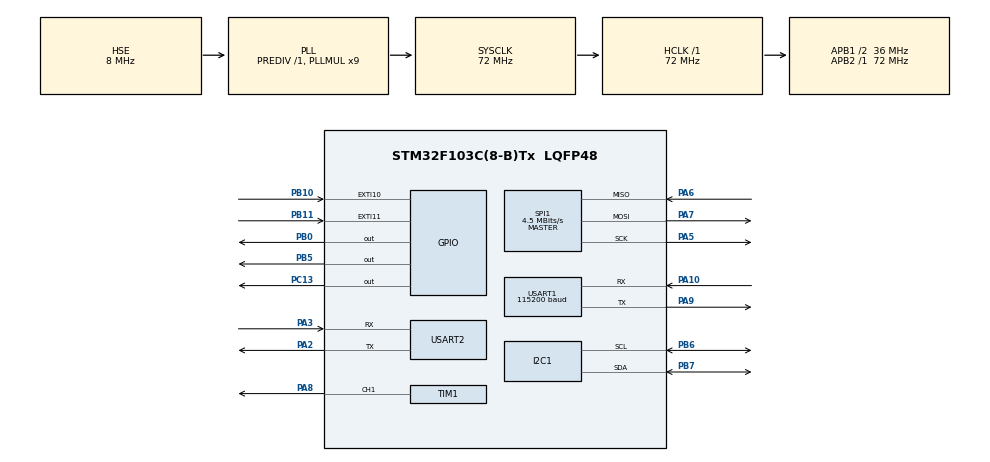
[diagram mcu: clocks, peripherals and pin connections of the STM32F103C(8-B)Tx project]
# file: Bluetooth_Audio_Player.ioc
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Dma.Request0=USART1_RX
Dma.USART1_RX.0.Direction=DMA_PERIPH_TO_MEMORY
Dma.USART1_RX.0.Instance=DMA1_Channel5
Dma.USART1_RX.0.MemDataAlignment=DMA_MDATAALIGN_BYTE
Dma.USART1_RX.0.MemInc=DMA_MINC_ENABLE
Dma.USART1_RX.0.Mode=DMA_CIRCULAR
Dma.USART1_RX.0.PeriphDataAlignment=DMA_PDATAALIGN_BYTE
Dma.USART1_RX.0.PeriphInc=DMA_PINC_DISABLE
Dma.USART1_RX.0.Priority=DMA_PRIORITY_LOW
FATFS._MAX_SS=4096
FATFS._USE_LFN=1
Mcu.Family=STM32F1
Mcu.Name=STM32F103C(8-B)Tx
Mcu.Package=LQFP48
NVIC.DMA1_Channel5_IRQn=true\:0\:0\:false\:false\:true\:false\:true\:true
NVIC.EXTI15_10_IRQn=true\:0\:0\:false\:false\:true\:true\:true\:true
NVIC.PriorityGroup=NVIC_PRIORITYGROUP_4
NVIC.TIM1_UP_IRQn=true\:0\:0\:false\:false\:true\:true\:true\:true
NVIC.USART1_IRQn=true\:0\:0\:false\:false\:true\:true\:true\:true
PA10.Mode=Asynchronous
PA10.Signal=USART1_RX
PA2.Mode=Asynchronous
PA2.Signal=USART2_TX
PA3.Mode=Asynchronous
PA3.Signal=USART2_RX
PA5.Mode=Full_Duplex_Master
PA5.Signal=SPI1_SCK
PA6.Mode=Full_Duplex_Master
PA6.Signal=SPI1_MISO
PA7.Mode=Full_Duplex_Master
PA7.Signal=SPI1_MOSI
PA8.Signal=S_TIM1_CH1
PA9.Mode=Asynchronous
PA9.Signal=USART1_TX
PB0.Signal=GPIO_Output
PB10.Signal=GPXTI10
PB11.Signal=GPXTI11
PB5.Signal=GPIO_Output
PB6.Mode=I2C
PB6.Signal=I2C1_SCL
PB7.Mode=I2C
PB7.Signal=I2C1_SDA
PC13-TAMPER-RTC.Signal=GPIO_Output
PD0-OSC_IN.Mode=HSE-External-Oscillator
PD0-OSC_IN.Signal=RCC_OSC_IN
PD1-OSC_OUT.Mode=HSE-External-Oscillator
PD1-OSC_OUT.Signal=RCC_OSC_OUT
ProjectManager.HeapSize=0x200
ProjectManager.StackSize=0x400
ProjectManager.TargetToolchain=Makefile
RCC.AHBFreq_Value=72000000
RCC.APB1CLKDivider=RCC_HCLK_DIV2
RCC.APB1Freq_Value=36000000
RCC.APB1TimFreq_Value=72000000
RCC.APB2Freq_Value=72000000
RCC.APB2TimFreq_Value=72000000
RCC.HCLKFreq_Value=72000000
RCC.PLLMUL=RCC_PLL_MUL9
RCC.PLLSourceVirtual=RCC_PLLSOURCE_HSE
RCC.SYSCLKFreq_VALUE=72000000
RCC.SYSCLKSource=RCC_SYSCLKSOURCE_PLLCLK
RCC.USBFreq_Value=72000000
SH.S_TIM1_CH1.0=TIM1_CH1,PWM Generation1 CH1
SPI1.BaudRatePrescaler=SPI_BAUDRATEPRESCALER_16
SPI1.CalculateBaudRate=4.5 MBits/s
SPI1.Direction=SPI_DIRECTION_2LINES
SPI1.Mode=SPI_MODE_MASTER
SPI1.VirtualType=VM_MASTER
TIM1.Channel-PWM\ Generation1\ CH1=TIM_CHANNEL_1
TIM1.Period=1088
TIM1.Prescaler=2
USART1.BaudRate=115200
USART1.VirtualMode=VM_ASYNC
USART2.VirtualMode=VM_ASYNC
VP_FATFS_VS_Generic.Mode=User_defined
VP_SYS_VS_ND.Mode=No_Debug
VP_TIM1_VS_ClockSourceINT.Mode=Internal
board=custom

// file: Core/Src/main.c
/* USER CODE BEGIN Header */
/**
  ******************************************************************************
  * @file           : main.c
  * @brief          : Main program body
  ******************************************************************************
  * @attention
  *
  * Copyright (c) 2024 STMicroelectronics.
  * All rights reserved.
  *
  * This software is licensed under terms that can be found in the LICENSE file
  * in the root directory of this software component.
  * If no LICENSE file comes with this software, it is provided AS-IS.
  *
  ******************************************************************************
  */
/* USER CODE END Header */
#include "main.h"
#include "dma.h"
#include "fatfs.h"
#include "i2c.h"
#include "spi.h"
#include "tim.h"
#include "usart.h"
#include "gpio.h"

/* USER CODE BEGIN Includes */

#include "i2c-lcd.h"
#include "stm32f1xx_hal.h"
#include <stdint.h>
#include <string.h>
#include <stdbool.h>
#include <stdio.h>
#include "circ_buffer.h"

/* USER CODE END Includes */

/* USER CODE BEGIN PD */

#define DATA_BUFFER_SIZE        128
#define DUTY_CICLE_MULTIPLIER   ((TIM1->ARR)/256)

// Macros para delay de microsegundos, obtidas de: https://deepbluembedded.com/stm32-systick-timer-microseconds-delay-us-delay-function/
#define SYSTICK_LOAD (SystemCoreClock/1000000U)
#define SYSTICK_DELAY_CALIB (SYSTICK_LOAD >> 1)

#define DELAY_US(us) \
    do { \
         uint32_t start = SysTick->VAL; \
         uint32_t ticks = (us * SYSTICK_LOAD)-SYSTICK_DELAY_CALIB;  \
         while((start - SysTick->VAL) < ticks); \
    } while (0)

#define AUDIO_BUFFER_SIZE 400

/* USER CODE END PD */

/* USER CODE BEGIN PV */

FATFS FatFs; // Definição do formato de arquivo FatFs

uint8_t rx_buffer[2*DATA_BUFFER_SIZE];
uint8_t data_to_transfer[DATA_BUFFER_SIZE + 1];
bool data_ready = false;

char audio_byte;
CircBuffer audioBuffer;

uint32_t currentMillis, previousMillis;
/*uint8_t Estado;*/
enum state {
  IDLE,
  ABRE_ARQUIVO_ESCRITA,
  ESPERA_RECEPCAO,
  FECHA_ARQUIVO,
  TOCA_AUDIO,
  ERRO
} Estado;

/* USER CODE END PV */

void SystemClock_Config(void);
/* USER CODE BEGIN PFP */

// funções de controle do LCD
void lcd_string_top(char *);
void lcd_string_bottom(char *);

// funções de controle do SD Card
int SD_Mount();
void SD_Read_Size();
void SD_error_feedback(FRESULT);

// função para reprodução do áudio
void tocaAudio(FIL *file_ptr);

/* USER CODE END PFP */

int main(void)
{

  /* MCU Configuration--------------------------------------------------------*/

  /* Reset of all peripherals, Initializes the Flash interface and the Systick. */
  HAL_Init();

  /* Configure the system clock */
  SystemClock_Config();

  /* Initialize all configured peripherals */
  MX_GPIO_Init();
  MX_DMA_Init();
  MX_USART1_UART_Init();
  MX_I2C1_Init();
  MX_SPI1_Init();
  MX_TIM1_Init();
  MX_FATFS_Init();
  MX_USART2_UART_Init();
  /* USER CODE BEGIN 2 */

  lcd_init();
  HAL_Delay(2000);

  HAL_GPIO_WritePin(GPIOB, GPIO_PIN_5, GPIO_PIN_RESET); // pino B5 conectado ao !Enable do amplificador LM4818
  HAL_TIM_PWM_Start(&htim1, TIM_CHANNEL_1);

  lcd_clear();
  lcd_string_top("Montando SD");
  HAL_Delay(2000);

  if(SD_Mount() == 1){
    lcd_string_top("SD Mounted!");
    HAL_Delay(2000);

    //SD_Read_Size();

    Estado = IDLE;
    lcd_clear();
    lcd_string_top("IDLE");
  }
  else{
    lcd_string_top("SD Not Found    ");
    Estado = ERRO;
  }

  FIL fil; // Variável para armazenar os arquivos
  FRESULT fres; // Variável para armazenar feedback dos comandos para o cartão SD

  InitCircBuffer(&audioBuffer, AUDIO_BUFFER_SIZE);

  /* USER CODE END 2 */

  /* Infinite loop */
  /* USER CODE BEGIN WHILE */
  while (1)
  {

    switch (Estado) {
      case IDLE:
      case ERRO:
        break;

      case ESPERA_RECEPCAO:
        if(data_ready){
          // HAL_GPIO_TogglePin(GPIOC, GPIO_PIN_13); // LED 13
          f_puts((const char*)data_to_transfer, &fil);
          memset(data_to_transfer, '\0', DATA_BUFFER_SIZE + 1);
          data_ready = false;
        }
        break;

      case ABRE_ARQUIVO_ESCRITA:
        // Criando o arquivo que será usado. Se o arquivo já existe, será sobreescrito.
        fres = f_open(&fil, "Audio_teste.txt", FA_WRITE | FA_READ | FA_CREATE_ALWAYS);
        lcd_clear();
        if(fres != FR_OK){
          SD_error_feedback(fres);
          Estado = ERRO;
          break;
        }
        lcd_string_top("File open!");
        HAL_Delay(2000);

        HAL_UART_Receive_DMA(&huart1, rx_buffer, 2*DATA_BUFFER_SIZE);
        lcd_clear();
        lcd_string_top("Esperando...");
        Estado = ESPERA_RECEPCAO;
        break;

      case TOCA_AUDIO:
        // Abrindo o arquivo de áudio
        fres = f_open(&fil, "Audio_teste.txt", FA_READ);
        lcd_clear();
        if (fres != FR_OK) {
          SD_error_feedback(fres);
          Estado = ERRO;
          break;
        }
        lcd_string_top("File open!");
        HAL_Delay(2000);

        tocaAudio(&fil);

        HAL_Delay(1000);

        Estado = FECHA_ARQUIVO;
        break;

      // O estado FECHA_ARQUIVO poderia ser uma função. Mas ao escrever, achei melhor fazer um estado para
      // melhor integrar com a interrupção do botão 11 ao fechar o arquivo após receber o áudio por bluetooth
      case FECHA_ARQUIVO:
        lcd_clear();
        lcd_string_top("Closing file...");
        HAL_Delay(2000);
        f_close(&fil);

        lcd_clear();
        lcd_string_top("IDLE");

        Estado = IDLE;
        break;
    }
    /* USER CODE END WHILE */

  }
}

void SystemClock_Config(void)
{
  RCC_OscInitTypeDef RCC_OscInitStruct = {0};
  RCC_ClkInitTypeDef RCC_ClkInitStruct = {0};

  /** Initializes the RCC Oscillators according to the specified parameters
  * in the RCC_OscInitTypeDef structure.
  */
  RCC_OscInitStruct.OscillatorType = RCC_OSCILLATORTYPE_HSE;
  RCC_OscInitStruct.HSEState = RCC_HSE_ON;
  RCC_OscInitStruct.HSEPredivValue = RCC_HSE_PREDIV_DIV1;
  RCC_OscInitStruct.HSIState = RCC_HSI_ON;
  RCC_OscInitStruct.PLL.PLLState = RCC_PLL_ON;
  RCC_OscInitStruct.PLL.PLLSource = RCC_PLLSOURCE_HSE;
  RCC_OscInitStruct.PLL.PLLMUL = RCC_PLL_MUL9;
  if (HAL_RCC_OscConfig(&RCC_OscInitStruct) != HAL_OK)
  {
    Error_Handler();
  }

  /** Initializes the CPU, AHB and APB buses clocks
  */
  RCC_ClkInitStruct.ClockType = RCC_CLOCKTYPE_HCLK|RCC_CLOCKTYPE_SYSCLK
                              |RCC_CLOCKTYPE_PCLK1|RCC_CLOCKTYPE_PCLK2;
  RCC_ClkInitStruct.SYSCLKSource = RCC_SYSCLKSOURCE_PLLCLK;
  RCC_ClkInitStruct.AHBCLKDivider = RCC_SYSCLK_DIV1;
  RCC_ClkInitStruct.APB1CLKDivider = RCC_HCLK_DIV2;
  RCC_ClkInitStruct.APB2CLKDivider = RCC_HCLK_DIV1;

  if (HAL_RCC_ClockConfig(&RCC_ClkInitStruct, FLASH_LATENCY_2) != HAL_OK)
  {
    Error_Handler();
  }
}

/* USER CODE BEGIN 4 */

// ======================= Interrupções =======================

void HAL_UART_RxHalfCpltCallback(UART_HandleTypeDef *huart){
    memcpy(data_to_transfer, rx_buffer, DATA_BUFFER_SIZE);
    memset(rx_buffer, '\0', DATA_BUFFER_SIZE);
    data_ready = true;
}

void HAL_UART_RxCpltCallback(UART_HandleTypeDef *huart){
    /*UNUSED(huart);*/
    memcpy(data_to_transfer, rx_buffer + DATA_BUFFER_SIZE, DATA_BUFFER_SIZE);
    memset(rx_buffer + DATA_BUFFER_SIZE, '\0', DATA_BUFFER_SIZE);
    data_ready = true;
}

void HAL_GPIO_EXTI_Callback(uint16_t GPIO_Pin){
    currentMillis = HAL_GetTick();

    if(GPIO_Pin == GPIO_PIN_10 && (currentMillis - previousMillis > 1000)){
        if(Estado == IDLE){
            Estado = TOCA_AUDIO;
        }
    }
    else if(GPIO_Pin == GPIO_PIN_11 && (currentMillis - previousMillis > 1000)){
        if(Estado == IDLE){
            Estado = ABRE_ARQUIVO_ESCRITA;
        }
        else if (Estado == ESPERA_RECEPCAO){
            Estado = FECHA_ARQUIVO;
        }
    }

    previousMillis = currentMillis;

}

// Interrupção ativada a cada T = 45.35us quando a função tocaAudio() está em operação
void HAL_TIM_PeriodElapsedCallback(TIM_HandleTypeDef *htim){
  // Escreve o byte no registrador do duty cicle. Áudio de 22050Hz => T = 45.35us
  CircBufferPop(&audioBuffer, &audio_byte);
  TIM1->CCR1 = DUTY_CICLE_MULTIPLIER * ((uint32_t) audio_byte);
}

// ============================================================

// ============== Funções de Controle do LCD ==================

void lcd_string_top(char * str){
  lcd_put_cur(0, 0);
  lcd_send_string(str);
}

void lcd_string_bottom(char * str){
  lcd_put_cur(1, 0);
  lcd_send_string(str);
}

// ============================================================

// ============= Funções de controle do SD Card ==============
int SD_Mount(){
  FRESULT fres; // Variável para armazenar feedback dos comandos para o cartão SD

  // Montando o cartão SD
  fres = f_mount(&FatFs, "", 1);
  if(fres != FR_OK){
    return 0;
  }

  return 1;
}

void SD_Read_Size(){
    // Obtendo espaço no disco
    FATFS *pfs;
    DWORD fre_clust;
    uint32_t totalSpace, freeSpace;
    f_getfree("", &fre_clust, &pfs);
    totalSpace = (uint32_t)((pfs->n_fatent - 2) * pfs->csize * 0.5);
    freeSpace = (uint32_t)(fre_clust * pfs->csize * 0.5);

    char lcd_buff[100];

    // Escrevendo espaço no lcd
    lcd_clear();
    lcd_string_top("Total: ");
    sprintf(lcd_buff, "%lu", totalSpace);
    lcd_send_string(lcd_buff);
    lcd_string_bottom("Free: ");
    sprintf(lcd_buff, "%lu", freeSpace);
    lcd_send_string(lcd_buff);
    HAL_Delay(2000);
}

void SD_error_feedback(FRESULT fres){
  char lcd_buff[100];

  lcd_string_top("Error in file");
  lcd_string_bottom("handling.Code:");
  sprintf(lcd_buff, "%d", fres);
  lcd_send_string(lcd_buff);
}

// ============================================================
//
void tocaAudio(FIL *file_ptr){
  char byte_read;
  CircBufferReset(&audioBuffer);
  int counter = 0;

  // Enche o buffer de áudio inicialmente
  for (counter = 0; counter < AUDIO_BUFFER_SIZE; counter++) {
    f_gets(&byte_read, 2, file_ptr); // lê um byte do arquivo no SD card
    CircBufferInsert(&audioBuffer, byte_read);
  }

  DWORD file_size = f_size(file_ptr);
  HAL_TIM_Base_Start_IT(&htim1);

  while(counter < file_size){
    if(!CircBufferIsFull(&audioBuffer)){
      f_gets(&byte_read, 2, file_ptr); // lê um byte do arquivo no SD card
      CircBufferInsert(&audioBuffer, byte_read);
      counter++;
    }
  }

  TIM1->CCR1 = 0; // Interrompe o PWM
  HAL_TIM_Base_Stop_IT(&htim1);
}

/* USER CODE END 4 */

void Error_Handler(void)
{
  __disable_irq();
  while (1)
  {
  }
}
